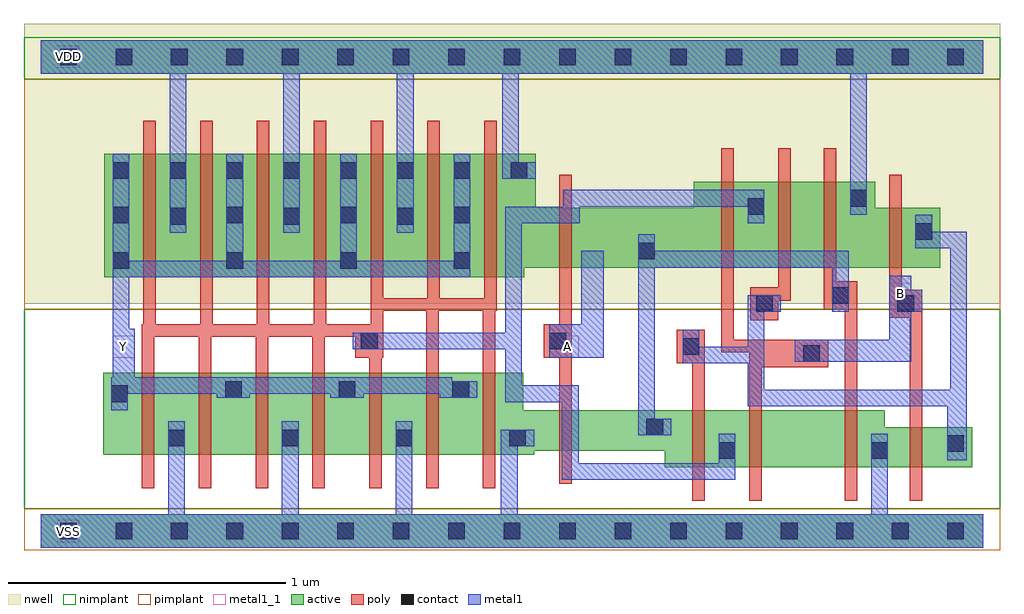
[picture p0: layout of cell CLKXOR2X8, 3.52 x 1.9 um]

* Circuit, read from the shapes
.subckt CLKXOR2X8 A B VDD VSS Y
M1 VSS n1 Y VSS nfet w=0.295u l=0.045u m=7
M2 n2 A VSS VSS nfet w=0.145u l=0.045u
M3 n1 n3 n2 VSS nfet w=0.205u l=0.045u
M4 n4 B n1 VSS nfet w=0.205u l=0.045u
M5 VSS n2 n4 VSS nfet w=0.205u l=0.045u
M6 n3 B VSS VSS nfet w=0.145u l=0.045u
M7 VDD n1 Y VDD pfet w=0.445u l=0.045u m=7
M8 n2 A VDD VDD pfet w=0.215u l=0.045u
M9 n1 B n2 VDD pfet w=0.31u l=0.045u
M10 n5 n3 n1 VDD pfet w=0.31u l=0.045u
M11 VDD n2 n5 VDD pfet w=0.31u l=0.045u
M12 n3 B VDD VDD pfet w=0.215u l=0.045u
.ends

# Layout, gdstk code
import gdstk
lib = gdstk.Library(unit=1e-6, precision=5e-10)
def R(c, l, rs):  # rectangles x0, y0, x1, y1
    for r in rs: c.add(gdstk.rectangle(r[:2], r[2:], *l))
def A(c, l, x, y, w, h, nx, ny, dx, dy):  # array of equal rectangles
    R(c, l, [(x+i*dx, y+j*dy, x+i*dx+w, y+j*dy+h) for i in range(nx) for j in range(ny)])
def P(c, l, *ps):  # polygons
    for p in ps: c.add(gdstk.Polygon(p, *l))
active = (1, 0)
nwell = (2, 0)
poly = (3, 0)
nimplant = (4, 0)
pimplant = (5, 0)
contact = (6, 0)
metal1 = (7, 0)
metal1_1 = (7, 1)

clkxor2x8 = lib.new_cell('CLKXOR2X8')
R(clkxor2x8, active, [(0,-0.06,3.4,0.06), (0,1.65,3.4,1.77)])
P(clkxor2x8, active, [(0.23,1.36),(1.785,1.36),(1.785,1.165),(2.355,1.165),(2.355,1.26),(3.01,1.26),(3.01,1.165),(3.245,1.165),(3.245,0.95),(1.745,0.95),(1.745,0.915),(0.23,0.915)],
  [(0.225,0.57),(1.74,0.57),(1.74,0.435),(3.045,0.435),(3.045,0.375),(3.36,0.375),(3.36,0.23),(2.25,0.23),(2.25,0.29),(1.78,0.29),(1.78,0.275),(0.225,0.275)])
R(clkxor2x8, nwell, [(-0.06,0.82,3.46,1.83)])
P(clkxor2x8, poly, [(0.37,1.48),(0.415,1.48),(0.415,0.745),(0.575,0.745),(0.575,1.48),(0.62,1.48),(0.62,0.745),(0.78,0.745),(0.78,1.48),(0.825,1.48),(0.825,0.745),(0.985,0.745),(0.985,1.48),(1.03,1.48),(1.03,0.745),(1.19,0.745),(1.19,1.48),(1.235,1.48),(1.235,0.84),(1.395,0.84),(1.395,1.48),(1.44,1.48),(1.44,0.84),(1.6,0.84),(1.6,1.48),(1.645,1.48),(1.645,0.795),(1.64,0.795),(1.64,0.155),(1.595,0.155),(1.595,0.795),(1.435,0.795),(1.435,0.155),(1.39,0.155),(1.39,0.795),(1.235,0.795),(1.235,0.625),(1.23,0.625),(1.23,0.155),(1.185,0.155),(1.185,0.625),(1.135,0.625),(1.135,0.7),(1.025,0.7),(1.025,0.155),(0.98,0.155),(0.98,0.7),(0.82,0.7),(0.82,0.155),(0.775,0.155),(0.775,0.7),(0.615,0.7),(0.615,0.155),(0.57,0.155),(0.57,0.7),(0.41,0.7),(0.41,0.155),(0.365,0.155),(0.365,0.745),(0.37,0.745)],
  [(1.87,1.285),(1.915,1.285),(1.915,0.17),(1.87,0.17),(1.87,0.625),(1.815,0.625),(1.815,0.745),(1.87,0.745)],
  [(2.455,1.38),(2.5,1.38),(2.5,0.69),(2.84,0.69),(2.84,0.59),(2.6,0.59),(2.6,0.11),(2.555,0.11),(2.555,0.645),(2.455,0.645)],
  [(2.66,1.38),(2.705,1.38),(2.705,0.83),(2.66,0.83),(2.66,0.76),(2.56,0.76),(2.56,0.88),(2.66,0.88)],
  [(2.825,1.38),(2.87,1.38),(2.87,0.9),(2.945,0.9),(2.945,0.11),(2.9,0.11),(2.9,0.8),(2.825,0.8)],
  [(3.06,1.285),(3.105,1.285),(3.105,0.87),(3.18,0.87),(3.18,0.11),(3.135,0.11),(3.135,0.77),(3.06,0.77)],
  [(2.295,0.725),(2.395,0.725),(2.395,0.11),(2.35,0.11),(2.35,0.605),(2.295,0.605)])
R(clkxor2x8, nimplant, [(-0.06,0.08,3.46,0.8), (-0.06,1.63,3.46,1.78)])
R(clkxor2x8, pimplant, [(-0.06,-0.07,3.46,0.08), (-0.06,0.8,3.46,1.63)])
A(clkxor2x8, contact, 0.07, -0.03, 0.06, 0.06, 17, 2, 0.2, 1.71)
A(clkxor2x8, contact, 0.46, 0.305, 0.06, 0.06, 4, 1, 0.41, 0)
A(clkxor2x8, contact, 0.665, 0.48, 0.06, 0.06, 3, 1, 0.41, 0)
A(clkxor2x8, contact, 0.26, 0.945, 0.06, 0.06, 4, 2, 0.41, 0.165)
A(clkxor2x8, contact, 0.465, 1.105, 0.06, 0.06, 3, 1, 0.41, 0)
A(clkxor2x8, contact, 0.26, 1.27, 0.06, 0.06, 8, 1, 0.205, 0)
R(clkxor2x8, contact, [(2.445,0.26,2.505,0.32), (2.995,0.26,3.055,0.32), (3.27,0.285,3.33,0.345), (2.185,0.345,2.245,0.405), (0.255,0.465,0.315,0.525), (2.75,0.61,2.81,0.67), (2.315,0.635,2.375,0.695), (1.155,0.655,1.215,0.715), (1.835,0.655,1.895,0.715), (2.58,0.79,2.64,0.85), (3.09,0.79,3.15,0.85), (2.855,0.82,2.915,0.88), (2.155,0.98,2.215,1.04), (3.155,1.05,3.215,1.11), (2.55,1.14,2.61,1.2), (2.92,1.17,2.98,1.23)])
P(clkxor2x8, metal1, [(0,1.77),(3.4,1.77),(3.4,1.65),(2.98,1.65),(2.98,1.14),(2.92,1.14),(2.92,1.65),(1.725,1.65),(1.725,1.33),(1.785,1.33),(1.785,1.27),(1.665,1.27),(1.665,1.65),(1.345,1.65),(1.345,1.075),(1.285,1.075),(1.285,1.65),(0.935,1.65),(0.935,1.075),(0.875,1.075),(0.875,1.65),(0.525,1.65),(0.525,1.075),(0.465,1.075),(0.465,1.65),(0,1.65)],
  [(0.26,1.36),(0.32,1.36),(0.32,0.975),(0.67,0.975),(0.67,1.36),(0.73,1.36),(0.73,0.975),(1.08,0.975),(1.08,1.36),(1.14,1.36),(1.14,0.975),(1.49,0.975),(1.49,1.36),(1.55,1.36),(1.55,0.915),(0.32,0.915),(0.32,0.73),(0.34,0.73),(0.34,0.555),(1.485,0.555),(1.485,0.54),(1.575,0.54),(1.575,0.48),(1.44,0.48),(1.44,0.495),(1.165,0.495),(1.165,0.48),(1.045,0.48),(1.045,0.495),(0.755,0.495),(0.755,0.48),(0.635,0.48),(0.635,0.495),(0.315,0.495),(0.315,0.435),(0.255,0.435),(0.255,0.555),(0.26,0.555)],
  [(1.885,1.23),(2.61,1.23),(2.61,1.11),(2.55,1.11),(2.55,1.17),(1.945,1.17),(1.945,1.11),(1.735,1.11),(1.735,0.525),(1.94,0.525),(1.94,0.245),(2.445,0.245),(2.445,0.35),(2.505,0.35),(2.505,0.185),(1.88,0.185),(1.88,0.465),(1.675,0.465),(1.675,0.655),(1.125,0.655),(1.125,0.715),(1.675,0.715),(1.675,1.17),(1.885,1.17)],
  [(2.155,1.07),(2.215,1.07),(2.215,1.01),(2.915,1.01),(2.915,0.79),(2.855,0.79),(2.855,0.95),(2.215,0.95),(2.215,0.405),(2.275,0.405),(2.275,0.345),(2.155,0.345)],
  [(3.155,1.14),(3.215,1.14),(3.215,1.08),(3.34,1.08),(3.34,0.255),(3.27,0.255),(3.27,0.45),(2.55,0.45),(2.55,0.605),(2.315,0.605),(2.315,0.725),(2.375,0.725),(2.375,0.665),(2.55,0.665),(2.55,0.85),(2.67,0.85),(2.67,0.79),(2.61,0.79),(2.61,0.51),(3.28,0.51),(3.28,1.02),(3.155,1.02)],
  [(1.95,1.01),(2.03,1.01),(2.03,0.625),(1.835,0.625),(1.835,0.745),(1.95,0.745)],
  [(0.46,0.395),(0.52,0.395),(0.52,0.06),(0.87,0.06),(0.87,0.395),(0.93,0.395),(0.93,0.06),(1.28,0.06),(1.28,0.395),(1.34,0.395),(1.34,0.06),(1.66,0.06),(1.66,0.365),(1.78,0.365),(1.78,0.305),(1.72,0.305),(1.72,0.06),(2.995,0.06),(2.995,0.35),(3.055,0.35),(3.055,0.06),(3.4,0.06),(3.4,-0.06),(0,-0.06),(0,0.06),(0.46,0.06)],
  [(3.06,0.92),(3.14,0.92),(3.14,0.87),(3.18,0.87),(3.18,0.79),(3.14,0.79),(3.14,0.61),(2.72,0.61),(2.72,0.69),(3.06,0.69)])
R(clkxor2x8, metal1_1, [(0.06,-0.04,0.14,0.04), (0.26,0.625,0.34,0.705), (1.86,0.625,1.94,0.705), (3.06,0.815,3.14,0.895), (0.06,1.67,0.14,1.75)])
clkxor2x8.add(gdstk.Label('Y', (0.3,0.665), layer=7, texttype=1))
clkxor2x8.add(gdstk.Label('B', (3.1,0.855), layer=7, texttype=1))
clkxor2x8.add(gdstk.Label('A', (1.9,0.665), layer=7, texttype=1))
clkxor2x8.add(gdstk.Label('VDD', (0.1,1.71), layer=7, texttype=1))
clkxor2x8.add(gdstk.Label('VSS', (0.1,0), layer=7, texttype=1))
clkxor2x8.add(gdstk.Label('CLKXOR2X8', (0,0), layer=63, texttype=0))

lib.write_gds('CLKXOR2X8.gds')
